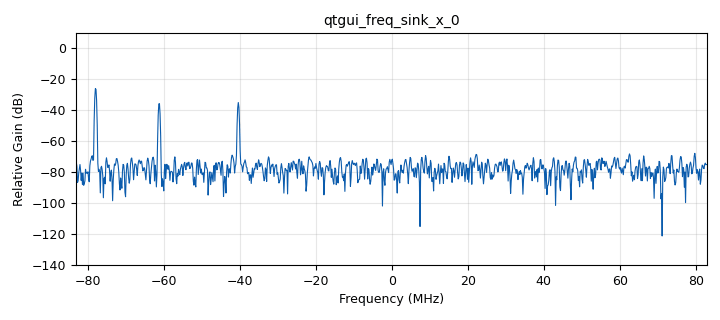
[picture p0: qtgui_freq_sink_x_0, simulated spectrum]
options:
  parameters:
    author: Ashley Beard
    description: Generates binary data files of five randomized-frequency signals and a Gaussian noise source
    generate_options: qt_gui
    id: data_files_gen
    output_language: python
    run_options: run
    title: Data Files Generator
  states: {}

blocks:
- name: samp_rate
  id: variable
  parameters:
    value: 166e6
  states: {}
- name: analog_noise_source_x_0
  id: analog_noise_source_x
  parameters:
    amp: '0.01'
    noise_type: analog.GR_GAUSSIAN
    seed: '0'
    type: complex
  states: {}
- name: analog_sig_source_x_0
  id: analog_sig_source_x
  parameters:
    amp: source_amp
    freq: freq
    offset: '0'
    phase: '0'
    samp_rate: samp_rate
    type: complex
    waveform: analog.GR_COS_WAVE
  states: {}
- name: analog_sig_source_x_0_0
  id: analog_sig_source_x
  parameters:
    amp: source_amp
    freq: freq
    offset: '0'
    phase: '0'
    samp_rate: samp_rate
    type: complex
    waveform: analog.GR_COS_WAVE
  states: {}
- name: analog_sig_source_x_0_0_0
  id: analog_sig_source_x
  parameters:
    amp: source_amp
    freq: freq_2
    offset: '0'
    phase: '0'
    samp_rate: samp_rate
    type: complex
    waveform: analog.GR_COS_WAVE
  states: {}
- name: analog_sig_source_x_0_0_0_0
  id: analog_sig_source_x
  parameters:
    amp: source_amp
    freq: freq
    offset: '0'
    phase: '0'
    samp_rate: samp_rate
    type: complex
    waveform: analog.GR_COS_WAVE
  states: {}
- name: analog_sig_source_x_0_0_0_0_0
  id: analog_sig_source_x
  parameters:
    amp: source_amp
    freq: freq_1
    offset: '0'
    phase: '0'
    samp_rate: samp_rate
    type: complex
    waveform: analog.GR_COS_WAVE
  states: {}
- name: blocks_add_xx_0
  id: blocks_add_xx
  parameters:
    num_inputs: '6'
    type: complex
  states: {}
- name: blocks_file_sink_0
  id: blocks_file_sink
  parameters:
    append: 'True'
    file: C:\Users\UserNameHere\Filename
    type: complex
  states: {}
- name: blocks_throttle_0
  id: blocks_throttle
  parameters:
    samples_per_second: samp_rate
    type: complex
  states: {}
- name: freq
  id: parameter
  parameters:
    value: random.uniform(2.412e9, 2.462e9)
  states: {}
- name: freq_1
  id: parameter
  parameters:
    value: random.uniform(2.412e9, 2.462e9)
  states: {}
- name: freq_2
  id: parameter
  parameters:
    value: random.uniform(2.412e9, 2.462e9)
  states: {}
- name: freq_3
  id: parameter
  parameters:
    value: random.uniform(2.412e9, 2.462e9)
  states: {}
- name: freq_4
  id: parameter
  parameters:
    value: random.uniform(2.412e9, 2.462e9)
  states: {}
- name: import_0
  id: import
  parameters:
    imports: import random
  states: {}
- name: import_0_0
  id: import
  parameters:
    imports: import pmt
  states: {}
- name: qtgui_freq_sink_x_0
  id: qtgui_freq_sink_x
  parameters:
    bw: samp_rate
    fc: '0'
    fftsize: '1024'
    type: complex
    wintype: firdes.WIN_BLACKMAN_hARRIS
  states: {}
- name: source_amp
  id: parameter
  parameters:
    value: '0.05'
  states: {}

connections:
- [analog_noise_source_x_0, '0', blocks_add_xx_0, '5']
- [analog_sig_source_x_0, '0', blocks_add_xx_0, '4']
- [analog_sig_source_x_0_0, '0', blocks_add_xx_0, '3']
- [analog_sig_source_x_0_0_0, '0', blocks_add_xx_0, '2']
- [analog_sig_source_x_0_0_0_0, '0', blocks_add_xx_0, '0']
- [analog_sig_source_x_0_0_0_0_0, '0', blocks_add_xx_0, '1']
- [blocks_add_xx_0, '0', blocks_throttle_0, '0']
- [blocks_throttle_0, '0', blocks_file_sink_0, '0']
- [blocks_throttle_0, '0', qtgui_freq_sink_x_0, '0']

metadata:
  file_format: 1
